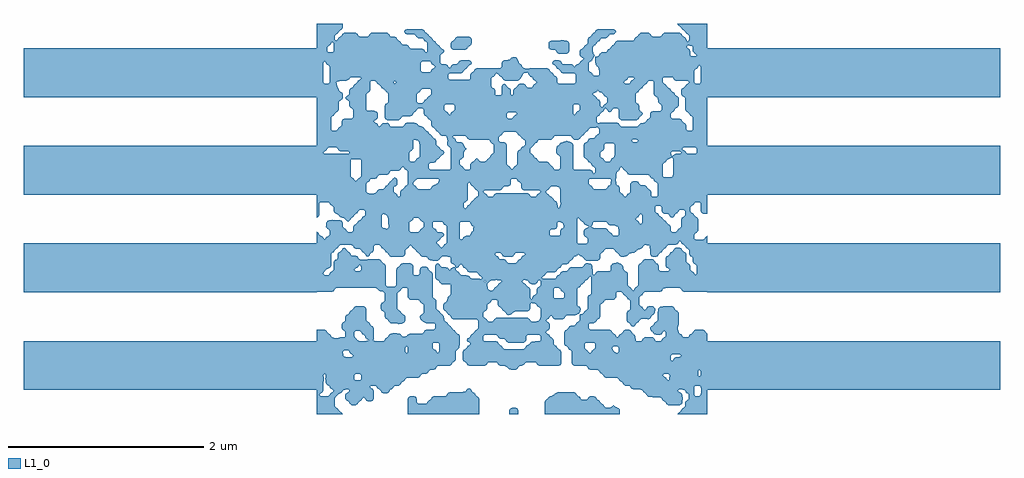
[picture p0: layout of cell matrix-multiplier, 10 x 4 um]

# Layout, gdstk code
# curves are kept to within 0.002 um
import gdstk
lib = gdstk.Library(unit=1e-6, precision=1e-09)
def R(c, l, rs):  # rectangles x0, y0, x1, y1
    for r in rs: c.add(gdstk.rectangle(r[:2], r[2:], *l))
def A(c, l, x, y, w, h, nx, ny, dx, dy):  # array of equal rectangles
    R(c, l, [(x+i*dx, y+j*dy, x+i*dx+w, y+j*dy+h) for i in range(nx) for j in range(ny)])
def P(c, l, *ps):  # polygons
    for p in ps: c.add(gdstk.Polygon(p, *l))
L1_0 = (1, 0)

matrix_multiplier = lib.new_cell('matrix-multiplier')
A(matrix_multiplier, L1_0, -5, -1.75, 3, 0.5, 1, 4, 0, 1)
A(matrix_multiplier, L1_0, 2, -1.75, 3, 0.5, 1, 4, 0, 1)
P(matrix_multiplier, L1_0, [(-2,-2),(-2,-1.586),(-1.92,-1.586),(-1.933,-1.6),(-1.928,-1.64),(-1.934,-1.68),(-1.934,-1.76),(-1.94,-1.772),(-1.974,-1.8),(-1.96,-1.814),(-1.88,-1.814),(-1.866,-1.8),(-1.86,-1.788),(-1.852,-1.78),(-1.834,-1.77),(-1.826,-1.76),(-1.86,-1.732),(-1.874,-1.71),(-1.9,-1.692),(-1.906,-1.68),(-1.912,-1.64),(-1.907,-1.6),(-1.92,-1.586),(-1.6,-1.586),(-1.614,-1.6),(-1.614,-1.64),(-1.61,-1.645),(-1.6,-1.654),(-1.56,-1.654),(-1.546,-1.64),(-1.546,-1.6),(-1.56,-1.586),(-2,-1.586),(-2,-1.346),(-1.72,-1.346),(-1.734,-1.36),(-1.729,-1.4),(-1.72,-1.409),(-1.68,-1.414),(-1.64,-1.414),(-1.626,-1.4),(-1.64,-1.386),(-1.652,-1.38),(-1.68,-1.346),(-2,-1.346),(-2,-1.306),(-1.08,-1.306),(-1.094,-1.32),(-1.094,-1.36),(-1.08,-1.374),(-1.066,-1.36),(-1.066,-1.32),(-1.08,-1.306),(-2,-1.306),(-2,-1.266),(-0.8,-1.266),(-0.814,-1.28),(-0.814,-1.32),(-0.8,-1.334),(-0.78,-1.346),(-0.77,-1.363),(-0.76,-1.372),(-0.748,-1.36),(-0.747,-1.35),(-0.746,-1.28),(-0.76,-1.266),(-2,-1.266),(-2,-1.134),(-1.92,-1.134),(-1.908,-1.14),(-1.89,-1.165),(-1.868,-1.18),(-1.84,-1.214),(-1.8,-1.223),(-1.76,-1.214),(-1.72,-1.214),(-1.715,-1.21),(-1.706,-1.2),(-1.706,-1.16),(-1.719,-1.146),(-1.6,-1.146),(-1.614,-1.16),(-1.614,-1.2),(-1.6,-1.223),(-1.59,-1.23),(-1.583,-1.24),(-1.56,-1.254),(-1.52,-1.254),(-1.48,-1.246),(-1.47,-1.24),(-1.49,-1.228),(-1.5,-1.216),(-1.51,-1.195),(-1.532,-1.18),(-1.56,-1.146),(-1.719,-1.146),(-1.73,-1.14),(-1.745,-1.12),(-1.745,-1.08),(-1.74,-1.07),(-1.714,-1.05),(-1.706,-1.04),(-1.706,-1),(-1.7,-0.988),(-1.675,-0.97),(-1.66,-0.948),(-1.63,-0.926),(-1.621,-0.91),(-1.61,-0.899),(-1.6,-0.894),(-1.52,-0.894),(-1.51,-0.898),(-1.5,-0.908),(-1.494,-0.92),(-1.494,-1.04),(-1.48,-1.054),(-1.468,-1.06),(-1.45,-1.085),(-1.42,-1.108),(-1.414,-1.12),(-1.414,-1.2),(-1.422,-1.24),(-1.4,-1.254),(-1.32,-1.254),(-1.306,-1.24),(-1.3,-1.228),(-1.275,-1.21),(-1.252,-1.18),(-1.24,-1.174),(-1.16,-1.174),(-1.14,-1.183),(-1.12,-1.207),(-1.11,-1.206),(-1.08,-1.201),(-1.072,-1.19),(-1.06,-1.181),(-1.04,-1.174),(-0.92,-1.174),(-0.906,-1.16),(-0.9,-1.148),(-0.88,-1.134),(-0.8,-1.134),(-0.786,-1.12),(-0.786,-1.08),(-0.8,-1.066),(-0.89,-1.064),(-0.91,-1.055),(-0.935,-1.03),(-0.946,-1),(-0.941,-0.99),(-0.93,-0.979),(-0.914,-0.97),(-0.906,-0.96),(-0.906,-0.88),(-0.92,-0.866),(-0.932,-0.86),(-0.96,-0.826),(-1.04,-0.826),(-1.052,-0.82),(-1.066,-0.8),(-1.066,-0.72),(-1.08,-0.706),(-1.12,-0.706),(-1.134,-0.72),(-1.14,-0.732),(-1.174,-0.76),(-1.174,-0.92),(-1.16,-0.934),(-1.148,-0.94),(-1.13,-0.965),(-1.1,-0.988),(-1.094,-1),(-1.094,-1.04),(-1.104,-1.06),(-1.119,-1.07),(-1.16,-1.076),(-1.2,-1.066),(-1.24,-1.066),(-1.252,-1.06),(-1.27,-1.035),(-1.3,-1.012),(-1.306,-1),(-1.306,-0.96),(-1.32,-0.946),(-1.332,-0.94),(-1.346,-0.92),(-1.346,-0.88),(-1.34,-0.868),(-1.306,-0.84),(-1.306,-0.76),(-1.32,-0.746),(-1.36,-0.735),(-1.38,-0.716),(-1.4,-0.706),(-1.8,-0.706),(-1.814,-0.72),(-1.82,-0.732),(-1.84,-0.746),(-2,-0.746),(-2,-0.133),(-1.98,-0.147),(-1.966,-0.17),(-1.94,-0.184),(-1.92,-0.208),(-1.9,-0.184),(-1.875,-0.17),(-1.866,-0.16),(-1.866,-0.12),(-1.88,-0.106),(-1.892,-0.1),(-1.906,-0.08),(-1.904,-0.04),(-1.9,-0.032),(-1.88,-0.016),(-1.84,-0.01),(-1.76,-0.014),(-1.746,-0.02),(-1.74,-0.026),(-1.734,-0.04),(-1.733,-0.08),(-1.724,-0.09),(-1.707,-0.1),(-1.698,-0.11),(-1.694,-0.12),(-1.68,-0.134),(-1.64,-0.134),(-1.63,-0.125),(-1.626,-0.12),(-1.626,-0.08),(-1.62,-0.068),(-1.595,-0.05),(-1.572,-0.02),(-1.55,-0.006),(-1.541,0.01),(-1.53,0.021),(-1.514,0.03),(-1.506,0.04),(-1.506,0.055),(-1.32,0.055),(-1.334,0.04),(-1.334,-0.08),(-1.32,-0.094),(-1.28,-0.103),(-1.262,-0.08),(-1.266,0),(-1.271,0.014),(-1,0.014),(-1.01,0.006),(-1.02,-0.012),(-1.028,-0.02),(-1.046,-0.03),(-1.054,-0.04),(-1.054,-0.12),(-1.04,-0.134),(-0.96,-0.134),(-0.955,-0.13),(-0.94,-0.108),(-0.906,-0.08),(-0.906,-0.04),(-0.92,-0.026),(-0.8,-0.026),(-0.814,-0.04),(-0.814,-0.08),(-0.8,-0.094),(-0.788,-0.1),(-0.76,-0.134),(-0.72,-0.135),(-0.71,-0.139),(-0.699,-0.15),(-0.695,-0.16),(-0.699,-0.17),(-0.708,-0.18),(-0.725,-0.19),(-0.745,-0.22),(-0.76,-0.229),(-0.771,-0.24),(-0.741,-0.28),(-0.72,-0.294),(-0.706,-0.28),(-0.7,-0.268),(-0.666,-0.24),(-0.666,-0.08),(-0.68,-0.066),(-0.692,-0.06),(-0.72,-0.026),(-0.52,-0.026),(-0.534,-0.04),(-0.534,-0.2),(-0.52,-0.214),(-0.51,-0.206),(-0.491,-0.18),(-0.48,-0.175),(-0.44,-0.174),(-0.426,-0.16),(-0.418,-0.14),(-0.397,-0.12),(-0.394,-0.08),(-0.417,-0.06),(-0.426,-0.04),(-0.44,-0.026),(0.48,-0.026),(0.466,-0.04),(0.466,-0.08),(0.46,-0.092),(0.44,-0.106),(0.4,-0.106),(0.386,-0.12),(0.386,-0.16),(0.4,-0.174),(0.48,-0.174),(0.49,-0.165),(0.494,-0.16),(0.494,-0.12),(0.507,-0.1),(0.524,-0.09),(0.532,-0.08),(0.52,-0.043),(0.51,-0.036),(0.48,-0.026),(-0.92,-0.026),(-0.932,-0.02),(-0.96,0.014),(0.68,0.014),(0.666,0),(0.666,-0.24),(0.68,-0.254),(0.76,-0.254),(0.774,-0.24),(0.774,-0.226),(1.72,-0.226),(1.706,-0.24),(1.7,-0.252),(1.68,-0.266),(1.6,-0.266),(1.586,-0.28),(1.58,-0.292),(1.555,-0.31),(1.54,-0.332),(1.515,-0.35),(1.492,-0.38),(1.48,-0.386),(1.44,-0.386),(1.42,-0.372),(1.414,-0.36),(1.413,-0.28),(1.4,-0.267),(1.36,-0.266),(1.35,-0.274),(1.33,-0.3),(1.281,-0.32),(1.26,-0.34),(1.2,-0.356),(1.18,-0.376),(1.15,-0.385),(1.12,-0.386),(1.108,-0.38),(1.098,-0.37),(1.09,-0.355),(1.08,-0.346),(1.07,-0.342),(1.04,-0.306),(0.96,-0.306),(0.946,-0.32),(0.94,-0.332),(0.906,-0.36),(0.906,-0.4),(0.9,-0.412),(0.88,-0.426),(0.76,-0.426),(0.74,-0.412),(0.725,-0.39),(0.7,-0.379),(0.69,-0.372),(0.68,-0.359),(0.672,-0.37),(0.66,-0.379),(0.635,-0.39),(0.62,-0.412),(0.595,-0.43),(0.572,-0.46),(0.56,-0.466),(0.52,-0.466),(0.506,-0.48),(0.5,-0.492),(0.492,-0.5),(0.474,-0.51),(0.45,-0.54),(0.44,-0.545),(0.36,-0.546),(0.346,-0.56),(0.34,-0.572),(0.306,-0.6),(0.31,-0.608),(0.32,-0.614),(0.44,-0.614),(0.47,-0.578),(0.48,-0.574),(0.49,-0.565),(0.508,-0.54),(0.52,-0.534),(0.56,-0.534),(0.57,-0.526),(0.579,-0.51),(0.59,-0.499),(0.6,-0.494),(0.72,-0.494),(0.734,-0.48),(0.74,-0.468),(0.76,-0.454),(0.8,-0.457),(0.817,-0.47),(0.823,-0.48),(0.826,-0.56),(0.83,-0.568),(0.84,-0.574),(0.854,-0.56),(0.858,-0.55),(0.868,-0.54),(0.88,-0.534),(1,-0.534),(1.014,-0.52),(1.014,-0.48),(1.02,-0.468),(1.04,-0.454),(1.08,-0.445),(1.112,-0.46),(1.13,-0.473),(1.139,-0.49),(1.146,-0.52),(1.18,-0.548),(1.186,-0.56),(1.186,-0.68),(1.2,-0.694),(1.212,-0.7),(1.24,-0.734),(1.254,-0.72),(1.26,-0.708),(1.294,-0.68),(1.294,-0.48),(1.3,-0.468),(1.325,-0.45),(1.348,-0.42),(1.36,-0.414),(1.44,-0.414),(1.452,-0.42),(1.47,-0.445),(1.5,-0.468),(1.506,-0.48),(1.506,-0.52),(1.52,-0.534),(1.6,-0.534),(1.614,-0.52),(1.6,-0.506),(1.588,-0.5),(1.574,-0.48),(1.574,-0.4),(1.58,-0.388),(1.605,-0.37),(1.62,-0.348),(1.645,-0.33),(1.668,-0.3),(1.68,-0.294),(1.72,-0.294),(1.732,-0.3),(1.75,-0.325),(1.78,-0.348),(1.786,-0.36),(1.786,-0.44),(1.82,-0.468),(1.826,-0.48),(1.826,-0.52),(1.84,-0.534),(1.852,-0.54),(1.88,-0.574),(1.894,-0.56),(1.894,-0.48),(1.86,-0.452),(1.854,-0.44),(1.854,-0.4),(1.84,-0.386),(1.828,-0.38),(1.814,-0.36),(1.814,-0.32),(1.8,-0.306),(1.788,-0.3),(1.77,-0.275),(1.748,-0.26),(1.72,-0.226),(0.774,-0.226),(0.774,-0.2),(0.76,-0.186),(0.748,-0.18),(0.734,-0.16),(0.734,-0.12),(0.748,-0.1),(0.79,-0.08),(0.748,-0.06),(0.72,-0.026),(0.88,-0.026),(0.84,-0.028),(0.828,-0.04),(0.82,-0.065),(0.81,-0.08),(0.84,-0.094),(0.96,-0.094),(0.972,-0.1),(0.99,-0.125),(1.012,-0.14),(1.04,-0.174),(1.08,-0.172),(1.092,-0.16),(1.094,-0.12),(1.086,-0.08),(1.08,-0.074),(1.062,-0.07),(1.04,-0.066),(1,-0.065),(0.99,-0.061),(0.979,-0.05),(0.97,-0.034),(0.96,-0.026),(0.72,-0.026),(0.708,-0.02),(0.68,0.014),(-1.271,0.014),(-1.28,0.031),(-1.289,0.04),(-1.315,0.053),(1.32,0.053),(1.31,0.045),(1.293,0.02),(1.276,0.01),(1.267,0),(1.28,-0.015),(1.29,-0.02),(1.31,-0.047),(1.32,-0.054),(1.334,-0.04),(1.335,-0.01),(1.333,0.04),(1.32,0.053),(-1.506,0.055),(-1.506,0.08),(-1.52,0.094),(-1.56,0.094),(-1.574,0.08),(-1.58,0.068),(-1.605,0.05),(-1.62,0.028),(-1.63,0.018),(-1.645,0.01),(-1.668,-0.02),(-1.68,-0.026),(-1.7,-0.015),(-1.72,0.01),(-1.76,0.023),(-1.791,0.05),(-1.812,0.06),(-1.826,0.08),(-1.826,0.12),(-1.84,0.134),(-1.852,0.14),(-1.88,0.174),(-1.96,0.174),(-1.974,0.16),(-1.974,0.04),(-1.98,0.028),(-2,0.014),(-2,0.614),(-1.64,0.614),(-1.654,0.6),(-1.654,0.44),(-1.64,0.426),(-1.628,0.42),(-1.6,0.386),(-1.584,0.4),(-1.58,0.409),(-1.569,0.42),(-1.56,0.424),(-1.546,0.44),(-1.546,0.534),(-1.12,0.534),(-1.134,0.52),(-1.14,0.508),(-1.16,0.494),(-1.24,0.494),(-1.254,0.48),(-1.26,0.468),(-1.28,0.454),(-1.36,0.454),(-1.388,0.42),(-1.4,0.414),(-1.44,0.414),(-1.446,0.41),(-1.46,0.39),(-1.486,0.37),(-1.494,0.36),(-1.494,0.28),(-1.48,0.266),(-1.44,0.258),(-1.4,0.266),(-1.386,0.28),(-1.38,0.292),(-1.36,0.306),(-1.32,0.306),(-1.306,0.32),(-1.3,0.332),(-1.275,0.35),(-1.26,0.372),(-1.235,0.39),(-1.212,0.42),(-1.2,0.426),(-1.188,0.42),(-1.174,0.4),(-1.174,0.36),(-1.178,0.35),(-1.187,0.34),(-1.204,0.33),(-1.213,0.32),(-1.212,0.28),(-1.203,0.27),(-1.186,0.26),(-1.174,0.24),(-1.16,0.226),(-1.146,0.24),(-1.146,0.28),(-1.14,0.292),(-1.115,0.31),(-1.1,0.332),(-1.066,0.36),(-1.066,0.414),(-0.96,0.414),(-0.985,0.4),(-1.004,0.38),(-1.014,0.36),(-1.006,0.35),(-0.99,0.34),(-0.97,0.314),(-0.96,0.306),(-0.84,0.306),(-0.812,0.34),(-0.768,0.36),(-0.757,0.374),(-0.44,0.374),(-0.454,0.36),(-0.454,0.2),(-0.46,0.188),(-0.494,0.16),(-0.494,0.12),(-0.48,0.106),(-0.466,0.12),(-0.46,0.132),(-0.435,0.15),(-0.42,0.172),(-0.395,0.19),(-0.38,0.212),(-0.346,0.24),(-0.346,0.28),(-0.35,0.285),(-0.372,0.3),(-0.39,0.325),(-0.412,0.34),(-0.44,0.374),(-0.757,0.374),(-0.746,0.4),(-0.76,0.414),(0,0.414),(-0.014,0.4),(-0.014,0.36),(-0.02,0.348),(-0.04,0.334),(-0.08,0.334),(-0.094,0.32),(-0.1,0.308),(-0.12,0.294),(-0.28,0.294),(-0.294,0.28),(-0.28,0.266),(-0.268,0.26),(-0.24,0.226),(-0.2,0.226),(-0.19,0.234),(-0.18,0.252),(-0.16,0.266),(0.16,0.265),(0.17,0.26),(0.19,0.234),(0.2,0.226),(0.24,0.226),(0.254,0.24),(0.26,0.252),(0.294,0.28),(0.28,0.294),(0.12,0.294),(0.11,0.299),(0.099,0.31),(0.094,0.32),(0.094,0.334),(0.4,0.334),(0.386,0.32),(0.38,0.308),(0.346,0.28),(0.352,0.27),(0.381,0.24),(0.412,0.22),(0.43,0.195),(0.46,0.172),(0.466,0.16),(0.471,0.12),(0.48,0.111),(0.489,0.12),(0.492,0.135),(1.48,0.135),(1.466,0.12),(1.466,0.08),(1.5,0.052),(1.515,0.03),(1.54,0.012),(1.555,-0.01),(1.58,-0.028),(1.595,-0.05),(1.62,-0.068),(1.626,-0.08),(1.626,-0.12),(1.64,-0.134),(1.68,-0.134),(1.694,-0.12),(1.7,-0.108),(1.734,-0.08),(1.735,0),(1.74,0.011),(1.766,0.03),(1.774,0.04),(1.776,0.08),(1.76,0.094),(1.72,0.094),(1.706,0.08),(1.7,0.068),(1.675,0.05),(1.652,0.02),(1.64,0.014),(1.62,0.025),(1.601,0.05),(1.56,0.054),(1.548,0.06),(1.534,0.08),(1.534,0.12),(1.52,0.134),(0.492,0.135),(0.497,0.16),(0.494,0.28),(0.487,0.32),(0.48,0.327),(0.44,0.334),(0.094,0.334),(0.094,0.36),(0.08,0.374),(0.068,0.38),(0.04,0.414),(0.8,0.414),(0.786,0.4),(0.786,0.36),(0.8,0.346),(0.812,0.34),(0.84,0.306),(0.96,0.306),(0.974,0.32),(0.98,0.332),(1.014,0.36),(1.015,0.4),(1,0.414),(-1.066,0.414),(-1.066,0.48),(-1.08,0.497),(-1.097,0.51),(-1.102,0.52),(-1.12,0.534),(-1.546,0.534),(-1.546,0.6),(-1.56,0.614),(-2,0.614),(-2,0.734),(-1.88,0.734),(-1.89,0.726),(-1.899,0.71),(-1.91,0.699),(-1.926,0.69),(-1.934,0.68),(-1.92,0.666),(-1.68,0.666),(-1.666,0.68),(-1.68,0.696),(-1.76,0.695),(-1.77,0.7),(-1.79,0.726),(-1.8,0.734),(-2,0.734),(-2,0.814),(-1,0.814),(-1.014,0.8),(-1.014,0.72),(-1.02,0.708),(-1.054,0.68),(-1.054,0.6),(-1.04,0.586),(-1,0.586),(-0.986,0.6),(-0.98,0.612),(-0.946,0.64),(-0.946,0.76),(-0.954,0.79),(-0.96,0.802),(-1,0.814),(-2,0.814),(-2,1.614),(-1.92,1.614),(-1.934,1.6),(-1.934,1.4),(-1.92,1.386),(-1.88,1.388),(-1.87,1.397),(-1.867,1.41),(-1.866,1.454),(-1.64,1.454),(-1.66,1.444),(-1.673,1.43),(-1.692,1.42),(-1.72,1.414),(-1.76,1.414),(-1.801,1.4),(-1.791,1.36),(-1.779,1.34),(-1.774,1.32),(-1.76,1.306),(-1.748,1.3),(-1.734,1.28),(-1.734,1.24),(-1.74,1.228),(-1.774,1.2),(-1.774,1.12),(-1.78,1.108),(-1.805,1.09),(-1.82,1.068),(-1.854,1.04),(-1.854,0.92),(-1.845,0.91),(-1.84,0.906),(-1.8,0.906),(-1.795,0.91),(-1.78,0.932),(-1.746,0.96),(-1.746,1),(-1.732,1.02),(-1.72,1.026),(-1.64,1.026),(-1.626,1.04),(-1.626,1.12),(-1.66,1.148),(-1.666,1.16),(-1.666,1.2),(-1.68,1.214),(-1.692,1.22),(-1.706,1.24),(-1.702,1.25),(-1.693,1.26),(-1.676,1.27),(-1.667,1.28),(-1.666,1.32),(-1.661,1.33),(-1.65,1.341),(-1.634,1.35),(-1.62,1.372),(-1.595,1.39),(-1.578,1.414),(-1.44,1.414),(-1.454,1.4),(-1.454,1.32),(-1.46,1.308),(-1.494,1.28),(-1.493,1.12),(-1.48,1.107),(-1.44,1.113),(-1.4,1.106),(-1.38,1.092),(-1.374,1.08),(-1.374,1.04),(-1.38,1.028),(-1.414,1),(-1.378,0.97),(-1.374,0.96),(-1.365,0.95),(-1.36,0.946),(-1.353,0.95),(-1.33,0.976),(-1.32,0.982),(-1.28,0.986),(-1.268,0.98),(-1.24,0.946),(-1.12,0.946),(-1.106,0.96),(-1.1,0.972),(-1.08,0.986),(-1,0.986),(-0.98,0.98),(-0.966,0.97),(-0.958,0.96),(-0.908,0.94),(-0.89,0.915),(-0.868,0.9),(-0.85,0.875),(-0.828,0.86),(-0.81,0.835),(-0.78,0.812),(-0.774,0.8),(-0.774,0.76),(-0.738,0.73),(-0.734,0.72),(-0.725,0.71),(-0.71,0.702),(-0.7,0.692),(-0.694,0.68),(-0.7,0.668),(-0.707,0.66),(-0.724,0.65),(-0.74,0.627),(-0.75,0.618),(-0.77,0.606),(-0.78,0.588),(-0.788,0.58),(-0.8,0.574),(-0.84,0.574),(-0.854,0.56),(-0.854,0.52),(-0.84,0.506),(-0.64,0.506),(-0.626,0.52),(-0.626,0.72),(-0.64,0.737),(-0.657,0.75),(-0.663,0.76),(-0.66,0.801),(-0.666,0.84),(-0.68,0.853),(-0.69,0.854),(-0.56,0.854),(-0.6,0.847),(-0.607,0.84),(-0.583,0.82),(-0.574,0.8),(-0.56,0.786),(-0.52,0.786),(-0.508,0.78),(-0.5,0.772),(-0.48,0.732),(-0.468,0.72),(-0.48,0.707),(-0.493,0.68),(-0.494,0.64),(-0.5,0.628),(-0.534,0.6),(-0.534,0.56),(-0.52,0.546),(-0.508,0.54),(-0.48,0.506),(-0.44,0.506),(-0.435,0.51),(-0.426,0.52),(-0.426,0.56),(-0.42,0.572),(-0.412,0.58),(-0.39,0.592),(-0.362,0.62),(-0.35,0.614),(-0.339,0.6),(-0.32,0.586),(-0.28,0.586),(-0.26,0.6),(-0.254,0.61),(-0.24,0.62),(-0.23,0.632),(-0.22,0.652),(-0.186,0.68),(-0.187,0.76),(-0.195,0.77),(-0.213,0.78),(-0.226,0.8),(-0.24,0.814),(-0.44,0.814),(-0.452,0.82),(-0.48,0.854),(-0.72,0.854),(-0.732,0.86),(-0.76,0.894),(-0.08,0.894),(-0.094,0.88),(-0.1,0.868),(-0.134,0.84),(-0.134,0.8),(-0.12,0.786),(-0.08,0.786),(-0.068,0.78),(-0.054,0.76),(-0.054,0.56),(-0.04,0.546),(-0.028,0.54),(0,0.506),(0.014,0.52),(0.018,0.53),(0.054,0.56),(0.054,0.68),(0.058,0.69),(0.066,0.7),(0.09,0.717),(0.1,0.734),(0.12,0.746),(0.134,0.76),(0.134,0.8),(0.12,0.814),(0.108,0.82),(0.09,0.845),(0.068,0.86),(0.04,0.894),(-0.76,0.894),(-0.772,0.9),(-0.79,0.925),(-0.81,0.939),(0.88,0.939),(0.84,0.934),(0.8,0.934),(0.786,0.92),(0.78,0.908),(0.755,0.89),(0.74,0.868),(0.715,0.85),(0.692,0.82),(0.68,0.814),(0.64,0.814),(0.628,0.82),(0.6,0.854),(0.44,0.854),(0.426,0.84),(0.42,0.828),(0.4,0.814),(0.28,0.814),(0.266,0.8),(0.26,0.788),(0.235,0.77),(0.22,0.748),(0.186,0.72),(0.186,0.68),(0.2,0.666),(0.212,0.66),(0.23,0.635),(0.252,0.62),(0.28,0.586),(0.36,0.586),(0.372,0.58),(0.39,0.555),(0.412,0.54),(0.44,0.506),(0.48,0.506),(0.494,0.52),(0.494,0.64),(0.48,0.654),(0.468,0.66),(0.454,0.68),(0.454,0.72),(0.46,0.738),(0.5,0.779),(0.56,0.801),(0.6,0.786),(0.612,0.78),(0.626,0.76),(0.626,0.52),(0.64,0.506),(0.8,0.506),(0.812,0.5),(0.84,0.466),(0.854,0.48),(0.854,0.52),(0.84,0.534),(1.12,0.534),(1.106,0.52),(1.097,0.5),(1.074,0.48),(1.066,0.44),(1.066,0.36),(1.1,0.332),(1.106,0.32),(1.106,0.28),(1.12,0.266),(1.132,0.26),(1.16,0.226),(1.174,0.24),(1.18,0.252),(1.188,0.26),(1.206,0.27),(1.214,0.28),(1.214,0.36),(1.22,0.372),(1.24,0.386),(1.28,0.386),(1.292,0.38),(1.32,0.346),(1.36,0.346),(1.372,0.34),(1.39,0.315),(1.42,0.292),(1.426,0.28),(1.426,0.24),(1.43,0.235),(1.44,0.226),(1.48,0.226),(1.494,0.24),(1.494,0.36),(1.46,0.388),(1.445,0.41),(1.42,0.426),(1.41,0.443),(1.4,0.452),(1.2,0.454),(1.188,0.46),(1.17,0.485),(1.148,0.5),(1.12,0.534),(0.84,0.534),(0.828,0.54),(0.81,0.565),(0.788,0.58),(0.77,0.605),(0.74,0.628),(0.734,0.64),(0.734,0.76),(0.742,0.774),(0.96,0.774),(0.946,0.76),(0.946,0.72),(0.94,0.708),(0.906,0.68),(0.906,0.64),(0.92,0.626),(0.932,0.62),(0.96,0.586),(1,0.586),(1.014,0.6),(1.024,0.62),(1.047,0.638),(1.64,0.638),(1.63,0.626),(1.594,0.61),(1.58,0.59),(1.554,0.57),(1.546,0.56),(1.546,0.44),(1.56,0.426),(1.6,0.426),(1.63,0.43),(1.64,0.432),(1.648,0.44),(1.654,0.48),(1.654,0.6),(1.64,0.638),(1.047,0.638),(1.052,0.66),(1.054,0.694),(1.64,0.694),(1.626,0.68),(1.64,0.643),(1.66,0.66),(1.68,0.666),(1.724,0.67),(1.734,0.68),(1.726,0.69),(1.72,0.693),(1.69,0.694),(1.054,0.694),(1.054,0.734),(1.76,0.734),(1.746,0.72),(1.75,0.711),(1.769,0.7),(1.8,0.666),(1.88,0.666),(1.894,0.68),(1.894,0.72),(1.88,0.734),(1.054,0.734),(1.054,0.76),(1.04,0.774),(0.742,0.774),(0.77,0.794),(0.785,0.817),(1.24,0.817),(1.226,0.8),(1.24,0.786),(1.28,0.786),(1.29,0.795),(1.294,0.8),(1.28,0.814),(1.24,0.817),(0.785,0.817),(0.8,0.826),(0.84,0.826),(0.854,0.84),(0.86,0.852),(0.894,0.88),(0.894,0.92),(0.88,0.939),(-0.81,0.939),(-0.82,0.948),(-0.826,0.96),(-0.826,1),(-0.86,1.028),(-0.875,1.05),(-0.9,1.068),(-0.906,1.08),(-0.906,1.12),(-0.92,1.134),(-0.96,1.134),(-0.974,1.12),(-0.98,1.108),(-0.99,1.098),(-1.005,1.09),(-1.028,1.06),(-1.04,1.054),(-1.12,1.054),(-1.134,1.04),(-1.14,1.028),(-1.16,1.014),(-1.28,1.014),(-1.292,1.02),(-1.306,1.04),(-1.306,1.16),(-1.298,1.174),(-0.68,1.174),(-0.694,1.16),(-0.694,1.12),(-0.68,1.106),(-0.668,1.1),(-0.64,1.066),(-0.626,1.08),(-0.618,1.094),(-0.04,1.094),(-0.054,1.08),(-0.053,1.04),(-0.04,1.027),(0,1.027),(0.004,1.03),(0.02,1.053),(0.044,1.07),(0.053,1.08),(0.04,1.093),(-0.618,1.094),(-0.595,1.11),(-0.586,1.12),(-0.586,1.16),(-0.6,1.174),(0.64,1.174),(0.626,1.16),(0.627,1.08),(0.64,1.067),(0.65,1.076),(0.667,1.1),(0.68,1.106),(0.694,1.12),(0.694,1.16),(0.68,1.174),(-1.298,1.174),(-1.275,1.19),(-1.266,1.2),(-1.266,1.28),(-1.272,1.29),(-1.29,1.305),(-1.31,1.328),(-1.32,1.334),(-0.92,1.334),(-0.934,1.32),(-0.94,1.308),(-0.974,1.28),(-0.974,1.2),(-0.96,1.186),(-0.92,1.186),(-0.892,1.22),(-0.87,1.235),(-0.852,1.26),(-0.83,1.275),(-0.826,1.28),(-0.826,1.32),(-0.84,1.334),(-1.32,1.334),(-1.332,1.34),(-1.35,1.365),(-1.372,1.38),(-1.399,1.413),(-1.2,1.413),(-1.213,1.4),(-1.2,1.387),(-1.186,1.4),(-1.2,1.413),(-1.578,1.414),(-1.555,1.43),(-1.546,1.44),(-1.56,1.454),(-1.866,1.454),(-1.866,1.56),(-1.88,1.574),(-1.892,1.58),(-1.92,1.614),(-0.92,1.614),(-0.934,1.6),(-0.934,1.52),(-0.92,1.506),(-0.84,1.506),(-0.812,1.54),(-0.79,1.555),(-0.786,1.56),(-0.79,1.565),(-0.812,1.58),(-0.84,1.614),(-2,1.614),(-2,1.813),(-1.84,1.813),(-1.85,1.804),(-1.86,1.787),(-1.87,1.778),(-1.88,1.774),(-1.894,1.76),(-1.894,1.72),(-1.88,1.706),(-1.84,1.706),(-1.826,1.72),(-1.827,1.8),(-1.834,1.81),(-1.84,1.813),(-2,1.813),(-2,2),(-1.734,2),(-1.734,1.96),(-1.74,1.948),(-1.765,1.93),(-1.78,1.908),(-1.814,1.88),(-1.814,1.84),(-1.81,1.832),(-1.8,1.826),(-1.786,1.84),(-1.78,1.852),(-1.755,1.87),(-1.732,1.9),(-1.72,1.906),(-1.6,1.906),(-1.588,1.9),(-1.56,1.866),(-1.48,1.866),(-1.466,1.88),(-1.46,1.892),(-1.44,1.906),(-1.28,1.906),(-1.268,1.9),(-1.24,1.866),(-1.2,1.866),(-1.188,1.86),(-1.17,1.835),(-1.148,1.82),(-1.12,1.786),(-1.08,1.786),(-1.068,1.78),(-1.04,1.746),(-0.92,1.746),(-0.908,1.74),(-0.88,1.706),(-0.866,1.72),(-0.866,1.8),(-0.9,1.828),(-0.915,1.85),(-0.92,1.854),(-0.96,1.854),(-0.972,1.86),(-1,1.894),(-1.08,1.894),(-1.092,1.9),(-1.106,1.92),(-1.1,1.932),(-1.08,1.946),(-0.92,1.946),(-0.908,1.94),(-0.89,1.915),(-0.86,1.892),(-0.845,1.87),(-0.82,1.852),(-0.805,1.83),(-0.78,1.812),(-0.765,1.79),(-0.74,1.772),(-0.725,1.75),(-0.7,1.732),(-0.694,1.72),(-0.7,1.708),(-0.734,1.68),(-0.734,1.6),(-0.72,1.586),(-0.68,1.586),(-0.67,1.582),(-0.64,1.547),(-0.63,1.555),(-0.611,1.58),(-0.6,1.585),(-0.559,1.59),(-0.54,1.615),(-0.52,1.626),(-0.44,1.627),(-0.42,1.612),(-0.414,1.6),(-0.42,1.588),(-0.445,1.57),(-0.468,1.54),(-0.486,1.53),(-0.51,1.499),(-0.53,1.494),(-0.64,1.494),(-0.645,1.49),(-0.654,1.48),(-0.654,1.44),(-0.64,1.426),(-0.44,1.426),(-0.426,1.44),(-0.426,1.48),(-0.42,1.492),(-0.408,1.502),(0.16,1.502),(0.117,1.49),(0.108,1.48),(0.097,1.45),(0.08,1.43),(0.063,1.42),(0.04,1.414),(-0.04,1.414),(-0.08,1.421),(-0.092,1.43),(-0.107,1.45),(-0.131,1.47),(-0.138,1.48),(-0.16,1.493),(-0.17,1.484),(-0.18,1.467),(-0.2,1.454),(-0.214,1.44),(-0.214,1.36),(-0.18,1.332),(-0.174,1.32),(-0.174,1.28),(-0.16,1.266),(-0.12,1.266),(-0.106,1.28),(-0.106,1.36),(-0.1,1.372),(-0.09,1.382),(-0.08,1.386),(-0.07,1.382),(-0.06,1.372),(-0.05,1.355),(-0.02,1.332),(-0.014,1.32),(-0.014,1.28),(0,1.266),(0.014,1.28),(0.014,1.32),(0.88,1.32),(0.861,1.3),(0.84,1.292),(0.828,1.28),(0.84,1.268),(0.854,1.26),(0.875,1.23),(0.9,1.212),(0.906,1.2),(0.906,1.16),(0.91,1.154),(0.92,1.145),(0.93,1.148),(0.943,1.17),(0.96,1.183),(0.974,1.2),(0.974,1.24),(0.94,1.268),(0.925,1.29),(0.89,1.307),(0.88,1.32),(0.014,1.32),(0.019,1.33),(0.03,1.341),(0.046,1.35),(0.06,1.372),(0.08,1.386),(0.12,1.386),(0.132,1.38),(0.16,1.346),(0.2,1.346),(0.206,1.35),(0.228,1.38),(0.25,1.395),(0.254,1.4),(0.25,1.405),(0.22,1.428),(0.206,1.45),(0.188,1.46),(0.18,1.468),(0.17,1.489),(0.16,1.502),(-0.408,1.502),(-0.39,1.515),(-0.372,1.54),(-0.36,1.546),(-0.12,1.547),(-0.107,1.56),(-0.106,1.6),(-0.101,1.61),(-0.09,1.621),(-0.08,1.626),(-0.036,1.63),(-0.02,1.638),(0,1.654),(0.01,1.655),(0.04,1.656),(0.048,1.65),(0.061,1.63),(0.07,1.6),(0.095,1.58),(0.11,1.554),(0.12,1.545),(0.16,1.538),(0.2,1.546),(0.36,1.546),(0.372,1.54),(0.39,1.515),(0.42,1.493),(0.43,1.475),(0.453,1.46),(0.46,1.452),(0.466,1.44),(0.466,1.4),(0.48,1.386),(0.64,1.386),(0.654,1.4),(0.654,1.454),(1.2,1.454),(1.186,1.44),(1.18,1.428),(1.146,1.4),(1.16,1.386),(1.2,1.386),(1.214,1.4),(1.222,1.414),(1.4,1.414),(1.386,1.4),(1.38,1.388),(1.355,1.37),(1.34,1.348),(1.315,1.33),(1.3,1.308),(1.266,1.28),(1.266,1.2),(1.3,1.172),(1.306,1.16),(1.306,1.12),(1.312,1.11),(1.335,1.09),(1.341,1.08),(1.335,1.07),(1.312,1.05),(1.3,1.028),(1.292,1.02),(1.28,1.014),(1.12,1.014),(1.108,1.02),(1.094,1.04),(1.094,1.12),(1.08,1.134),(1.04,1.133),(1.03,1.124),(1.02,1.107),(1,1.094),(0.98,1.108),(0.96,1.137),(0.95,1.132),(0.941,1.11),(0.931,1.1),(0.914,1.09),(0.9,1.068),(0.866,1.04),(0.866,1),(0.88,0.981),(0.92,0.986),(1.08,0.986),(1.092,0.98),(1.12,0.946),(1.28,0.946),(1.29,0.951),(1.32,0.98),(1.36,0.986),(1.374,1),(1.38,1.012),(1.414,1.04),(1.414,1.08),(1.42,1.092),(1.44,1.106),(1.52,1.106),(1.534,1.12),(1.534,1.16),(1.528,1.17),(1.5,1.195),(1.494,1.24),(1.48,1.254),(1.468,1.26),(1.454,1.28),(1.454,1.4),(1.445,1.41),(1.44,1.414),(1.222,1.414),(1.253,1.44),(1.24,1.453),(1.22,1.454),(1.56,1.454),(1.546,1.44),(1.546,1.4),(1.56,1.386),(1.572,1.38),(1.59,1.355),(1.612,1.34),(1.63,1.315),(1.652,1.3),(1.67,1.275),(1.7,1.252),(1.706,1.24),(1.706,1.16),(1.7,1.148),(1.675,1.13),(1.66,1.108),(1.626,1.08),(1.626,1.04),(1.64,1.026),(1.72,1.026),(1.732,1.02),(1.75,0.995),(1.78,0.972),(1.786,0.96),(1.786,0.92),(1.8,0.906),(1.84,0.906),(1.854,0.92),(1.854,1.04),(1.82,1.068),(1.805,1.09),(1.78,1.108),(1.774,1.12),(1.774,1.24),(1.76,1.254),(1.748,1.26),(1.734,1.28),(1.734,1.32),(1.74,1.332),(1.765,1.35),(1.78,1.372),(1.814,1.4),(1.8,1.414),(1.68,1.414),(1.668,1.42),(1.64,1.454),(0.654,1.454),(0.653,1.48),(0.64,1.493),(0.52,1.494),(0.51,1.498),(0.5,1.507),(0.484,1.53),(0.46,1.546),(0.444,1.57),(0.427,1.58),(0.414,1.6),(0.42,1.612),(0.44,1.626),(0.48,1.626),(0.493,1.62),(0.52,1.588),(0.6,1.586),(0.62,1.578),(0.63,1.571),(0.64,1.558),(0.66,1.579),(0.685,1.59),(0.7,1.612),(0.734,1.64),(0.7,1.668),(0.694,1.68),(0.694,1.72),(0.7,1.732),(0.725,1.75),(0.74,1.772),(0.774,1.8),(0.774,1.84),(0.78,1.852),(0.805,1.87),(0.82,1.892),(0.845,1.91),(0.868,1.94),(0.88,1.946),(1.04,1.946),(1.052,1.94),(1.066,1.92),(1.052,1.9),(1.04,1.894),(1,1.891),(0.989,1.88),(0.98,1.865),(0.96,1.854),(0.92,1.854),(0.906,1.84),(0.9,1.828),(0.875,1.81),(0.86,1.788),(0.826,1.76),(0.826,1.72),(0.833,1.7),(0.848,1.68),(0.84,1.669),(0.824,1.63),(0.813,1.62),(0.8,1.614),(0.786,1.6),(0.786,1.52),(0.8,1.506),(0.81,1.502),(0.82,1.493),(0.83,1.476),(0.84,1.467),(0.88,1.466),(0.894,1.48),(0.894,1.52),(0.89,1.535),(0.88,1.56),(0.865,1.574),(1.92,1.574),(1.906,1.56),(1.902,1.55),(1.866,1.52),(1.866,1.4),(1.88,1.386),(1.92,1.384),(1.934,1.4),(1.934,1.56),(1.92,1.574),(0.865,1.574),(0.854,1.6),(0.852,1.65),(0.854,1.66),(0.86,1.664),(0.88,1.666),(0.885,1.67),(0.908,1.7),(0.92,1.706),(0.96,1.706),(0.988,1.74),(1.01,1.755),(1.027,1.779),(1.8,1.779),(1.791,1.76),(1.81,1.746),(1.822,1.73),(1.826,1.72),(1.826,1.68),(1.84,1.666),(1.88,1.666),(1.894,1.68),(1.86,1.708),(1.854,1.72),(1.854,1.76),(1.84,1.774),(1.8,1.779),(1.027,1.779),(1.05,1.794),(1.06,1.812),(1.08,1.826),(1.24,1.826),(1.254,1.84),(1.26,1.852),(1.285,1.87),(1.308,1.9),(1.32,1.906),(1.4,1.906),(1.412,1.9),(1.44,1.866),(1.52,1.866),(1.534,1.88),(1.54,1.892),(1.56,1.906),(1.72,1.906),(1.732,1.9),(1.75,1.875),(1.78,1.852),(1.8,1.814),(1.814,1.84),(1.814,1.88),(1.8,1.894),(1.788,1.9),(1.77,1.925),(1.748,1.94),(1.73,1.965),(1.7,1.988),(1.694,2),(2,2),(2,0.054),(1.96,0.054),(1.94,0.068),(1.934,0.08),(1.934,0.16),(1.92,0.174),(1.88,0.174),(1.875,0.17),(1.86,0.148),(1.826,0.12),(1.824,0.08),(1.834,0.07),(1.85,0.061),(1.861,0.05),(1.87,0.034),(1.9,0.012),(1.906,0),(1.906,-0.12),(1.9,-0.132),(1.866,-0.16),(1.866,-0.2),(1.88,-0.214),(1.96,-0.214),(1.974,-0.2),(1.98,-0.188),(2,-0.174),(2,-0.746),(1.76,-0.746),(1.748,-0.74),(1.72,-0.706),(1.56,-0.707),(1.55,-0.716),(1.54,-0.733),(1.53,-0.742),(1.52,-0.746),(1.36,-0.746),(1.346,-0.76),(1.34,-0.772),(1.306,-0.8),(1.306,-0.88),(1.34,-0.908),(1.35,-0.926),(1.36,-0.935),(1.37,-0.926),(1.38,-0.908),(1.4,-0.894),(1.44,-0.894),(1.452,-0.9),(1.466,-0.92),(1.463,-0.96),(1.458,-0.97),(1.43,-0.993),(1.412,-1.02),(1.4,-1.027),(1.36,-1.021),(1.32,-1.026),(1.306,-1.04),(1.3,-1.052),(1.275,-1.07),(1.252,-1.1),(1.24,-1.106),(1.228,-1.1),(1.21,-1.075),(1.18,-1.052),(1.174,-1.04),(1.174,-0.96),(1.18,-0.948),(1.214,-0.92),(1.214,-0.84),(1.2,-0.826),(1.188,-0.82),(1.17,-0.795),(1.148,-0.78),(1.12,-0.746),(1.08,-0.746),(1.066,-0.76),(1.066,-0.8),(1.052,-0.82),(1.04,-0.826),(0.96,-0.826),(0.932,-0.86),(0.91,-0.875),(0.906,-0.88),(0.906,-1),(0.9,-1.012),(0.875,-1.03),(0.852,-1.06),(0.84,-1.066),(0.8,-1.066),(0.786,-1.08),(0.786,-1.12),(0.8,-1.134),(1,-1.134),(1.012,-1.14),(1.03,-1.165),(1.052,-1.18),(1.08,-1.214),(1.108,-1.18),(1.13,-1.165),(1.148,-1.14),(1.16,-1.134),(1.2,-1.134),(1.212,-1.14),(1.22,-1.148),(1.232,-1.17),(1.256,-1.19),(1.262,-1.2),(1.266,-1.24),(1.28,-1.254),(1.32,-1.254),(1.334,-1.24),(1.34,-1.228),(1.36,-1.214),(1.44,-1.214),(1.452,-1.22),(1.48,-1.254),(1.52,-1.254),(1.534,-1.24),(1.54,-1.228),(1.574,-1.2),(1.574,-1.16),(1.56,-1.146),(1.532,-1.18),(1.52,-1.186),(1.48,-1.186),(1.46,-1.179),(1.45,-1.171),(1.443,-1.16),(1.429,-1.15),(1.42,-1.137),(1.414,-1.12),(1.418,-1.11),(1.427,-1.1),(1.444,-1.09),(1.46,-1.067),(1.47,-1.058),(1.48,-1.054),(1.494,-1.04),(1.494,-0.96),(1.5,-0.92),(1.507,-0.91),(1.52,-0.9),(1.55,-0.895),(1.64,-0.894),(1.652,-0.9),(1.67,-0.925),(1.7,-0.948),(1.706,-0.96),(1.706,-1.08),(1.697,-1.12),(1.706,-1.16),(1.72,-1.174),(1.732,-1.18),(1.76,-1.214),(1.8,-1.214),(1.814,-1.2),(1.82,-1.187),(1.845,-1.17),(1.86,-1.148),(1.88,-1.134),(1.96,-1.134),(1.972,-1.14),(2,-1.174),(2,-2),(1.698,-2),(1.703,-1.99),(1.728,-1.97),(1.74,-1.948),(1.774,-1.92),(1.774,-1.88),(1.78,-1.868),(1.805,-1.85),(1.813,-1.84),(1.813,-1.8),(1.8,-1.787),(1.786,-1.78),(1.77,-1.756),(1.76,-1.747),(1.72,-1.746),(1.698,-1.76),(1.709,-1.77),(1.73,-1.782),(1.743,-1.8),(1.747,-1.84),(1.746,-1.88),(1.742,-1.89),(1.732,-1.9),(1.72,-1.906),(1.6,-1.906),(1.588,-1.9),(1.58,-1.892),(1.57,-1.874),(1.56,-1.865),(1.55,-1.861),(1.539,-1.85),(1.53,-1.834),(1.52,-1.826),(1.44,-1.826),(1.4,-1.822),(1.385,-1.81),(1.361,-1.78),(1.35,-1.773),(1.34,-1.76),(1.327,-1.75),(1.31,-1.746),(1.24,-1.746),(1.228,-1.74),(1.2,-1.706),(1.88,-1.706),(1.866,-1.72),(1.865,-1.8),(1.88,-1.814),(1.92,-1.814),(1.934,-1.8),(1.939,-1.76),(1.934,-1.72),(1.92,-1.706),(1.16,-1.706),(1.148,-1.7),(1.13,-1.675),(1.108,-1.66),(1.08,-1.626),(0.96,-1.626),(0.948,-1.62),(0.92,-1.586),(1.56,-1.586),(1.546,-1.6),(1.56,-1.614),(1.58,-1.627),(1.59,-1.644),(1.6,-1.653),(1.613,-1.64),(1.614,-1.61),(1.614,-1.6),(1.6,-1.586),(0.92,-1.586),(0.908,-1.58),(0.88,-1.546),(1.92,-1.546),(1.906,-1.56),(1.907,-1.6),(1.92,-1.613),(1.93,-1.605),(1.934,-1.59),(1.934,-1.56),(1.92,-1.546),(0.8,-1.546),(0.788,-1.54),(0.76,-1.506),(0.64,-1.506),(0.62,-1.492),(0.614,-1.48),(0.614,-1.386),(1.64,-1.386),(1.626,-1.4),(1.626,-1.44),(1.64,-1.454),(1.65,-1.446),(1.66,-1.428),(1.668,-1.42),(1.68,-1.414),(1.72,-1.413),(1.733,-1.4),(1.72,-1.386),(0.614,-1.386),(0.614,-1.36),(0.58,-1.332),(0.565,-1.31),(0.54,-1.292),(0.534,-1.28),(0.534,-1.266),(0.76,-1.266),(0.746,-1.28),(0.746,-1.32),(0.76,-1.34),(0.79,-1.369),(0.8,-1.374),(0.81,-1.366),(0.819,-1.35),(0.83,-1.339),(0.84,-1.335),(0.85,-1.326),(0.854,-1.32),(0.853,-1.306),(1.04,-1.306),(1.026,-1.32),(1.04,-1.352),(1.048,-1.36),(1.08,-1.373),(1.093,-1.36),(1.094,-1.32),(1.08,-1.306),(0.853,-1.306),(0.852,-1.28),(0.84,-1.268),(0.534,-1.266),(0.534,-1.16),(0.54,-1.148),(0.548,-1.14),(0.566,-1.13),(0.588,-1.1),(0.6,-1.094),(0.64,-1.094),(0.645,-1.09),(0.66,-1.068),(0.694,-1.04),(0.696,-0.98),(0.7,-0.976),(0.72,-0.974),(0.734,-0.96),(0.74,-0.948),(0.774,-0.92),(0.774,-0.8),(0.78,-0.788),(0.814,-0.76),(0.814,-0.6),(0.81,-0.592),(0.8,-0.586),(0.786,-0.6),(0.78,-0.612),(0.755,-0.63),(0.74,-0.652),(0.715,-0.67),(0.7,-0.692),(0.666,-0.72),(0.666,-0.88),(0.68,-0.894),(0.692,-0.9),(0.706,-0.92),(0.7,-0.944),(0.69,-0.966),(0.664,-0.98),(0.64,-0.986),(0.56,-0.986),(0.546,-1),(0.54,-1.012),(0.52,-1.026),(0.44,-1.026),(0.42,-1.014),(0.41,-0.997),(0.4,-0.988),(0.39,-0.997),(0.374,-1.02),(0.36,-1.027),(0.347,-1.04),(0.356,-1.05),(0.373,-1.06),(0.386,-1.08),(0.386,-1.12),(0.381,-1.13),(0.346,-1.16),(0.38,-1.188),(0.395,-1.21),(0.42,-1.228),(0.426,-1.24),(0.426,-1.28),(0.44,-1.294),(0.452,-1.3),(0.47,-1.325),(0.5,-1.348),(0.506,-1.36),(0.506,-1.48),(0.492,-1.5),(0.48,-1.506),(0.28,-1.506),(0.268,-1.5),(0.24,-1.466),(0.16,-1.466),(0.14,-1.475),(0.12,-1.493),(0.1,-1.502),(0.08,-1.506),(0.07,-1.513),(0.05,-1.539),(0.04,-1.544),(0.01,-1.546),(-0.01,-1.544),(-0.03,-1.537),(-0.06,-1.514),(-0.08,-1.506),(-0.12,-1.506),(-0.132,-1.5),(-0.16,-1.466),(-0.24,-1.466),(-0.254,-1.48),(-0.26,-1.492),(-0.28,-1.506),(-0.44,-1.506),(-0.452,-1.5),(-0.47,-1.475),(-0.5,-1.452),(-0.506,-1.44),(-0.506,-1.36),(-0.5,-1.348),(-0.475,-1.33),(-0.46,-1.308),(-0.426,-1.28),(-0.434,-1.27),(-0.46,-1.251),(-0.465,-1.24),(-0.46,-1.229),(-0.451,-1.22),(-0.43,-1.206),(-0.418,-1.186),(-0.28,-1.186),(-0.294,-1.2),(-0.294,-1.24),(-0.28,-1.254),(-0.16,-1.254),(-0.148,-1.26),(-0.13,-1.285),(-0.108,-1.3),(-0.08,-1.334),(0.12,-1.334),(0.148,-1.3),(0.168,-1.29),(0.18,-1.28),(0.19,-1.266),(0.2,-1.26),(0.24,-1.254),(0.28,-1.254),(0.294,-1.24),(0.294,-1.2),(0.28,-1.186),(0.16,-1.186),(0.146,-1.2),(0.146,-1.24),(0.14,-1.252),(0.12,-1.266),(-0.04,-1.266),(-0.052,-1.26),(-0.08,-1.226),(-0.12,-1.226),(-0.13,-1.222),(-0.14,-1.214),(-0.15,-1.197),(-0.16,-1.188),(-0.418,-1.186),(-0.39,-1.166),(-0.381,-1.15),(-0.37,-1.139),(-0.354,-1.13),(-0.346,-1.12),(-0.346,-1.04),(-0.36,-1.026),(-0.6,-1.026),(-0.612,-1.02),(-0.63,-0.995),(-0.652,-0.98),(-0.674,-0.95),(-0.69,-0.941),(-0.701,-0.93),(-0.706,-0.92),(-0.706,-0.88),(-0.701,-0.87),(-0.69,-0.859),(-0.67,-0.846),(-0.663,-0.826),(-0.2,-0.826),(-0.214,-0.84),(-0.22,-0.852),(-0.254,-0.88),(-0.254,-0.92),(-0.26,-0.932),(-0.268,-0.94),(-0.286,-0.95),(-0.294,-0.96),(-0.294,-1),(-0.28,-1.014),(-0.268,-1.02),(-0.24,-1.054),(-0.2,-1.054),(-0.186,-1.04),(-0.18,-1.028),(-0.16,-1.014),(0.16,-1.014),(0.172,-1.02),(0.2,-1.054),(0.24,-1.054),(0.276,-1.04),(0.288,-1.02),(0.294,-1),(0.294,-0.92),(0.28,-0.906),(0.268,-0.9),(0.24,-0.866),(0.2,-0.859),(0.186,-0.88),(0.186,-0.92),(0.172,-0.94),(0.16,-0.946),(0.04,-0.946),(0.006,-0.96),(-0.01,-0.975),(-0.04,-0.986),(-0.05,-0.981),(-0.061,-0.97),(-0.07,-0.954),(-0.1,-0.932),(-0.114,-0.91),(-0.13,-0.901),(-0.141,-0.89),(-0.145,-0.88),(-0.146,-0.84),(-0.16,-0.826),(-0.663,-0.826),(-0.656,-0.8),(-0.64,-0.784),(-0.626,-0.76),(-0.626,-0.68),(-0.64,-0.666),(-0.72,-0.666),(-0.74,-0.652),(-0.75,-0.635),(-0.28,-0.635),(-0.285,-0.64),(-0.28,-0.645),(-0.263,-0.64),(-0.28,-0.635),(-0.75,-0.635),(-0.764,-0.624),(-0.16,-0.624),(-0.21,-0.629),(-0.23,-0.64),(-0.252,-0.66),(-0.254,-0.68),(-0.245,-0.72),(-0.24,-0.725),(-0.2,-0.734),(-0.186,-0.72),(-0.182,-0.71),(-0.172,-0.7),(-0.155,-0.69),(-0.14,-0.668),(-0.106,-0.64),(-0.12,-0.626),(-0.16,-0.624),(0.12,-0.624),(0.105,-0.64),(0.11,-0.648),(0.12,-0.658),(0.14,-0.67),(0.144,-0.68),(0.174,-0.7),(0.182,-0.71),(0.186,-0.72),(0.186,-0.8),(0.2,-0.821),(0.22,-0.788),(0.254,-0.76),(0.255,-0.72),(0.264,-0.706),(0.44,-0.706),(0.426,-0.72),(0.426,-0.8),(0.44,-0.814),(0.52,-0.814),(0.534,-0.8),(0.534,-0.76),(0.527,-0.75),(0.51,-0.738),(0.497,-0.72),(0.48,-0.706),(0.264,-0.706),(0.286,-0.69),(0.294,-0.68),(0.294,-0.64),(0.29,-0.632),(0.28,-0.626),(0.252,-0.66),(0.24,-0.666),(0.2,-0.666),(0.18,-0.658),(0.16,-0.632),(0.12,-0.624),(-0.764,-0.624),(-0.772,-0.62),(-0.786,-0.6),(-0.786,-0.49),(-0.78,-0.469),(-0.771,-0.46),(-0.76,-0.455),(-0.749,-0.46),(-0.739,-0.47),(-0.73,-0.486),(-0.72,-0.494),(-0.68,-0.494),(-0.67,-0.497),(-0.651,-0.51),(-0.64,-0.524),(-0.62,-0.505),(-0.582,-0.49),(-0.58,-0.48),(-0.6,-0.466),(-0.52,-0.466),(-0.53,-0.471),(-0.55,-0.493),(-0.56,-0.5),(-0.57,-0.502),(-0.575,-0.51),(-0.576,-0.52),(-0.567,-0.53),(-0.55,-0.54),(-0.53,-0.566),(-0.52,-0.574),(-0.48,-0.574),(-0.456,-0.58),(-0.44,-0.588),(-0.42,-0.605),(-0.4,-0.614),(-0.32,-0.615),(-0.31,-0.608),(-0.306,-0.6),(-0.32,-0.586),(-0.332,-0.58),(-0.36,-0.546),(-0.44,-0.546),(-0.452,-0.54),(-0.47,-0.515),(-0.492,-0.5),(-0.52,-0.466),(-0.6,-0.466),(-0.612,-0.46),(-0.626,-0.44),(-0.626,-0.4),(-0.64,-0.386),(-0.68,-0.383),(-0.72,-0.386),(-0.734,-0.4),(-0.74,-0.412),(-0.76,-0.426),(-0.84,-0.425),(-0.85,-0.42),(-0.87,-0.394),(-0.88,-0.386),(-0.92,-0.386),(-0.93,-0.381),(-0.941,-0.37),(-0.95,-0.354),(-0.96,-0.346),(-0.16,-0.346),(-0.174,-0.36),(-0.14,-0.388),(-0.125,-0.41),(-0.12,-0.414),(-0.08,-0.413),(-0.07,-0.418),(-0.04,-0.454),(0.04,-0.454),(0.054,-0.44),(0.06,-0.428),(0.085,-0.41),(0.1,-0.388),(0.134,-0.36),(0.12,-0.346),(0.04,-0.346),(0.012,-0.38),(0,-0.386),(-0.03,-0.387),(-0.08,-0.387),(-0.093,-0.38),(-0.106,-0.36),(-0.12,-0.346),(-0.96,-0.346),(-0.972,-0.34),(-0.99,-0.315),(-1.012,-0.3),(-1.04,-0.266),(-1.054,-0.28),(-1.06,-0.292),(-1.094,-0.32),(-1.094,-0.36),(-1.1,-0.372),(-1.12,-0.386),(-1.24,-0.386),(-1.252,-0.38),(-1.27,-0.355),(-1.292,-0.34),(-1.31,-0.315),(-1.332,-0.3),(-1.36,-0.266),(-1.4,-0.266),(-1.406,-0.27),(-1.414,-0.28),(-1.414,-0.32),(-1.42,-0.332),(-1.428,-0.34),(-1.446,-0.35),(-1.46,-0.371),(-1.469,-0.38),(-1.48,-0.385),(-1.491,-0.38),(-1.5,-0.371),(-1.51,-0.354),(-1.53,-0.342),(-1.56,-0.306),(-1.6,-0.306),(-1.62,-0.293),(-1.63,-0.275),(-1.64,-0.267),(-1.76,-0.266),(-1.774,-0.28),(-1.78,-0.292),(-1.805,-0.31),(-1.82,-0.332),(-1.854,-0.36),(-1.854,-0.48),(-1.868,-0.5),(-1.907,-0.52),(-1.925,-0.54),(-1.934,-0.56),(-1.92,-0.574),(-1.88,-0.575),(-1.874,-0.57),(-1.86,-0.548),(-1.826,-0.52),(-1.826,-0.469),(-1.56,-0.469),(-1.57,-0.478),(-1.58,-0.494),(-1.6,-0.506),(-1.614,-0.52),(-1.6,-0.534),(-1.56,-0.534),(-1.55,-0.525),(-1.546,-0.52),(-1.549,-0.48),(-1.56,-0.469),(-1.826,-0.469),(-1.825,-0.44),(-1.82,-0.431),(-1.793,-0.41),(-1.786,-0.4),(-1.786,-0.36),(-1.78,-0.348),(-1.75,-0.326),(-1.74,-0.308),(-1.72,-0.294),(-1.708,-0.3),(-1.69,-0.325),(-1.668,-0.34),(-1.64,-0.374),(-1.6,-0.374),(-1.588,-0.38),(-1.56,-0.414),(-1.52,-0.418),(-1.48,-0.414),(-1.36,-0.414),(-1.348,-0.42),(-1.33,-0.445),(-1.3,-0.468),(-1.294,-0.48),(-1.294,-0.68),(-1.28,-0.694),(-1.2,-0.694),(-1.186,-0.68),(-1.186,-0.52),(-1.175,-0.5),(-1.16,-0.491),(-1.149,-0.48),(-1.14,-0.465),(-1.13,-0.458),(-1.12,-0.454),(-1.04,-0.454),(-1.03,-0.459),(-1.019,-0.47),(-1.014,-0.48),(-1.014,-0.56),(-1,-0.574),(-0.96,-0.574),(-0.95,-0.565),(-0.946,-0.56),(-0.946,-0.52),(-0.94,-0.506),(-0.93,-0.496),(-0.92,-0.49),(-0.88,-0.491),(-0.87,-0.496),(-0.86,-0.506),(-0.85,-0.525),(-0.82,-0.547),(-0.813,-0.56),(-0.812,-0.8),(-0.803,-0.81),(-0.786,-0.82),(-0.774,-0.84),(-0.774,-0.92),(-0.76,-0.934),(-0.748,-0.94),(-0.727,-0.97),(-0.7,-0.994),(-0.697,-1),(-0.694,-1.04),(-0.69,-1.045),(-0.668,-1.06),(-0.65,-1.085),(-0.628,-1.1),(-0.61,-1.125),(-0.588,-1.14),(-0.57,-1.165),(-0.54,-1.188),(-0.534,-1.2),(-0.535,-1.29),(-0.542,-1.32),(-0.549,-1.33),(-0.562,-1.34),(-0.574,-1.36),(-0.574,-1.44),(-0.58,-1.452),(-0.605,-1.47),(-0.628,-1.5),(-0.64,-1.506),(-0.76,-1.506),(-0.788,-1.54),(-0.8,-1.546),(-0.84,-1.546),(-0.868,-1.58),(-0.88,-1.586),(-0.92,-1.587),(-0.93,-1.595),(-0.94,-1.613),(-0.96,-1.626),(-1.08,-1.626),(-1.108,-1.66),(-1.13,-1.675),(-1.148,-1.7),(-1.16,-1.706),(-1.2,-1.708),(-1.21,-1.717),(-1.22,-1.734),(-1.245,-1.75),(-1.26,-1.772),(-1.28,-1.786),(-1.32,-1.786),(-1.332,-1.78),(-1.35,-1.755),(-1.372,-1.74),(-1.4,-1.706),(-1.44,-1.706),(-1.454,-1.72),(-1.446,-1.73),(-1.42,-1.749),(-1.414,-1.77),(-1.414,-1.84),(-1.42,-1.852),(-1.44,-1.866),(-1.48,-1.866),(-1.492,-1.86),(-1.52,-1.826),(-1.548,-1.86),(-1.57,-1.875),(-1.588,-1.9),(-1.6,-1.906),(-1.64,-1.906),(-1.652,-1.9),(-1.67,-1.875),(-1.7,-1.852),(-1.706,-1.84),(-1.706,-1.8),(-1.702,-1.79),(-1.666,-1.76),(-1.68,-1.746),(-1.72,-1.747),(-1.73,-1.755),(-1.738,-1.77),(-1.748,-1.78),(-1.785,-1.8),(-1.804,-1.82),(-1.814,-1.84),(-1.814,-1.92),(-1.8,-1.934),(-1.788,-1.94),(-1.77,-1.965),(-1.74,-1.988),(-1.734,-2)],
  [(-1.066,-2),(-1.066,-1.84),(-1.06,-1.828),(-1.04,-1.814),(-1,-1.814),(-0.988,-1.82),(-0.974,-1.84),(-0.974,-1.88),(-0.96,-1.894),(-0.88,-1.894),(-0.866,-1.88),(-0.86,-1.868),(-0.835,-1.85),(-0.812,-1.82),(-0.8,-1.814),(-0.68,-1.814),(-0.666,-1.8),(-0.66,-1.788),(-0.64,-1.774),(-0.52,-1.774),(-0.49,-1.77),(-0.48,-1.768),(-0.46,-1.744),(-0.44,-1.734),(-0.43,-1.739),(-0.419,-1.75),(-0.41,-1.766),(-0.38,-1.788),(-0.37,-1.807),(-0.35,-1.823),(-0.337,-1.84),(-0.334,-1.88),(-0.334,-2)],
  [(0.334,-2),(0.334,-1.88),(0.34,-1.863),(0.383,-1.82),(0.42,-1.807),(0.459,-1.78),(0.48,-1.774),(0.64,-1.776),(0.649,-1.78),(0.674,-1.81),(0.692,-1.82),(0.72,-1.854),(0.76,-1.854),(0.77,-1.846),(0.79,-1.82),(0.8,-1.815),(0.84,-1.814),(0.852,-1.82),(0.87,-1.845),(0.892,-1.86),(0.91,-1.885),(0.932,-1.9),(0.96,-1.934),(1,-1.934),(1.02,-1.926),(1.04,-1.909),(1.053,-1.92),(1.094,-1.94),(1.106,-1.96),(1.106,-2)],
  [(0.48,1.694),(0.47,1.699),(0.459,1.71),(0.45,1.726),(0.44,1.734),(0.4,1.734),(0.39,1.739),(0.379,1.75),(0.374,1.76),(0.374,1.8),(0.388,1.82),(0.4,1.826),(0.48,1.827),(0.52,1.831),(0.56,1.826),(0.58,1.812),(0.586,1.8),(0.586,1.72),(0.58,1.708),(0.56,1.694)],
  [(-0.6,1.734),(-0.612,1.74),(-0.626,1.76),(-0.626,1.8),(-0.62,1.812),(-0.595,1.83),(-0.572,1.86),(-0.56,1.866),(-0.44,1.866),(-0.42,1.852),(-0.414,1.84),(-0.414,1.8),(-0.418,1.79),(-0.426,1.78),(-0.44,1.772),(-0.452,1.76),(-0.46,1.746),(-0.47,1.738),(-0.48,1.734)],
  [(-0.026,-2),(-0.026,-1.96),(-0.012,-1.94),(0,-1.934),(0.04,-1.934),(0.06,-1.948),(0.066,-1.96),(0.066,-2)])

lib.write_gds('matrix-multiplier.gds')
